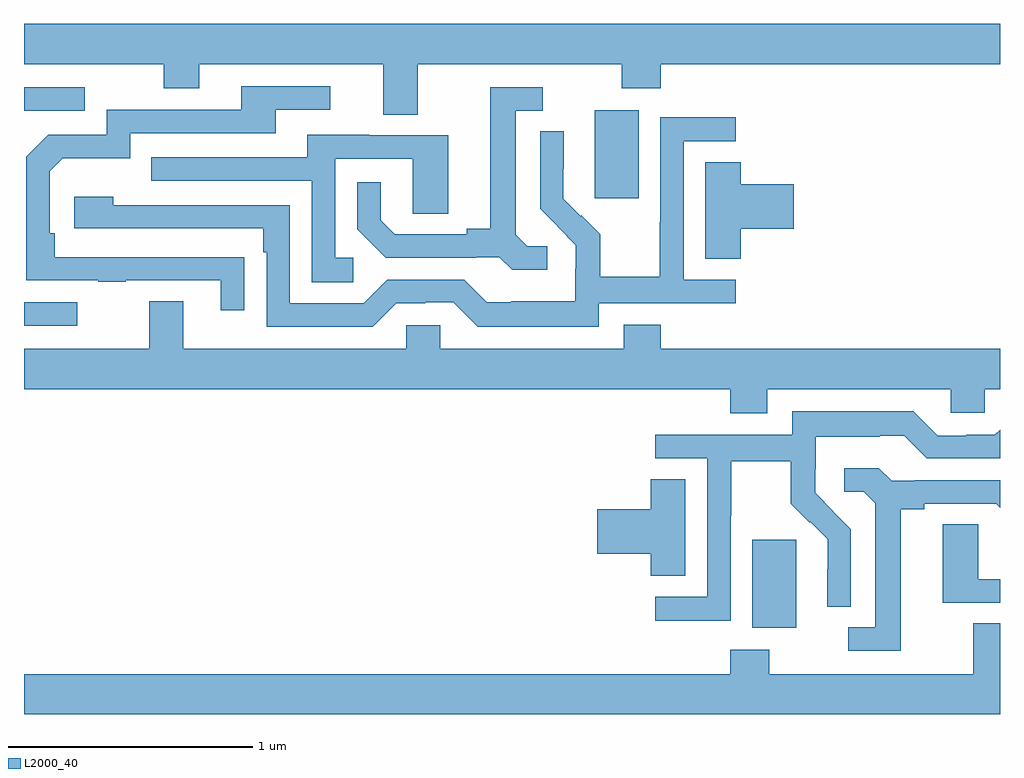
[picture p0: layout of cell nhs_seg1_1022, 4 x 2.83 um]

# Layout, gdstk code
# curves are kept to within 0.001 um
import gdstk
lib = gdstk.Library(unit=1e-6, precision=1e-09)
def R(c, l, rs):  # rectangles x0, y0, x1, y1
    for r in rs: c.add(gdstk.rectangle(r[:2], r[2:], *l))
def P(c, l, *ps):  # polygons
    for p in ps: c.add(gdstk.Polygon(p, *l))
L2000_40 = (2000, 40)

nhs_seg1_1022 = lib.new_cell('nhs_seg1_1022')
R(nhs_seg1_1022, L2000_40, [(169.985,529.442,170.164,529.803), (167,530.679,167.218,530.775), (169.34,531.201,169.519,531.562), (167,531.561,167.248,531.657)])
P(nhs_seg1_1022, L2000_40, [(168.613,531.752),(169.45,531.752),(169.45,531.653),(169.61,531.653),(169.61,531.752),(171,531.752),(171,531.916),(167,531.916),(167,531.752),(167.572,531.752),(167.572,531.653),(167.719,531.653),(167.719,531.752),(168.473,531.752),(168.473,531.544),(168.613,531.544)],
  [(167.903,530.96),(167.126,530.961),(167.126,531.058),(167.106,531.058),(167.106,531.312),(167.159,531.365),(167.436,531.365),(167.436,531.468),(168.031,531.468),(168.031,531.564),(168.256,531.564),(168.256,531.66),(167.891,531.66),(167.891,531.564),(167.34,531.564),(167.34,531.462),(167.1,531.462),(167.01,531.372),(167.01,530.865),(167.305,530.865),(167.305,530.86),(167.417,530.86),(167.417,530.865),(167.807,530.865),(167.807,530.742),(167.903,530.742)],
  [(169.144,531.006),(169.062,531.006),(169.015,531.053),(169.015,531.561),(169.126,531.561),(169.126,531.657),(168.911,531.657),(168.911,531.077),(168.815,531.077),(168.815,531.054),(168.52,531.054),(168.463,531.111),(168.463,531.268),(168.366,531.268),(168.366,531.074),(168.482,530.958),(168.854,530.958),(168.854,530.961),(168.948,530.961),(169,530.909),(169.144,530.909)],
  [(169.356,530.772),(169.918,530.772),(169.918,530.868),(169.704,530.868),(169.704,531.435),(169.918,531.435),(169.918,531.534),(169.608,531.534),(169.608,531.104),(169.606,531.104),(169.606,530.881),(169.361,530.881),(169.361,531.055),(169.284,531.132),(169.281,531.129),(169.211,531.2),(169.212,531.476),(169.116,531.476),(169.116,531.158),(169.262,531.01),(169.262,530.913),(169.26,530.913),(169.26,530.779),(168.997,530.779),(168.997,530.775),(168.897,530.775),(168.804,530.868),(168.489,530.868),(168.393,530.772),(168.09,530.772),(168.09,531.174),(167.366,531.174),(167.366,531.208),(167.205,531.208),(167.205,531.078),(167.981,531.078),(167.981,530.981),(167.994,530.981),(167.994,530.676),(168.429,530.676),(168.525,530.772),(168.644,530.772),(168.644,530.775),(168.759,530.775),(168.859,530.675),(169.356,530.675)],
  [(168.349,530.958),(168.276,530.958),(168.276,531.363),(168.594,531.363),(168.594,531.139),(168.739,531.139),(168.739,531.459),(168.415,531.459),(168.415,531.463),(168.161,531.463),(168.161,531.369),(167.521,531.369),(167.521,531.273),(168.18,531.273),(168.18,530.857),(168.349,530.857)],
  [(169.937,531.077),(170.155,531.077),(170.155,531.26),(169.937,531.26),(169.937,531.35),(169.793,531.35),(169.793,530.953),(169.937,530.953)],
  [(170.047,530.42),(170.799,530.42),(170.799,530.322),(170.937,530.322),(170.937,530.42),(171,530.42),(171,530.584),(169.61,530.584),(169.61,530.683),(169.457,530.683),(169.457,530.584),(168.705,530.584),(168.705,530.682),(168.567,530.682),(168.567,530.584),(167.653,530.584),(167.653,530.779),(167.513,530.779),(167.513,530.584),(167,530.584),(167,530.42),(169.895,530.42),(169.895,530.321),(170.047,530.321)],
  [(169.896,529.9),(169.899,529.9),(169.899,530.124),(170.143,530.124),(170.143,529.949),(170.22,529.872),(170.223,529.875),(170.294,529.805),(170.294,529.682),(170.292,529.682),(170.292,529.528),(170.388,529.528),(170.388,529.846),(170.242,529.994),(170.242,530.091),(170.244,530.091),(170.244,530.225),(170.507,530.225),(170.507,530.229),(170.607,530.229),(170.7,530.136),(171,530.136),(171,530.253),(170.979,530.232),(170.861,530.232),(170.861,530.229),(170.745,530.229),(170.645,530.329),(170.148,530.329),(170.148,530.232),(169.587,530.232),(169.587,530.136),(169.8,530.136),(169.8,529.569),(169.587,529.569),(169.587,529.471),(169.896,529.471)],
  [(170.593,529.928),(170.689,529.928),(170.689,529.95),(170.984,529.95),(171,529.934),(171,530.046),(170.65,530.046),(170.65,530.043),(170.556,530.043),(170.504,530.095),(170.361,530.095),(170.361,529.998),(170.442,529.998),(170.489,529.951),(170.489,529.443),(170.379,529.443),(170.379,529.347),(170.593,529.347)],
  [(169.711,530.051),(169.568,530.051),(169.568,529.928),(169.35,529.928),(169.35,529.745),(169.568,529.745),(169.568,529.654),(169.711,529.654)],
  [(171,529.641),(170.91,529.641),(170.91,529.865),(170.765,529.865),(170.765,529.545),(171,529.545)],
  [(171,529.46),(170.891,529.46),(170.891,529.252),(170.055,529.252),(170.055,529.351),(169.895,529.351),(169.895,529.252),(167,529.252),(167,529.088),(171,529.088)])

lib.write_gds('nhs_seg1_1022.gds')
